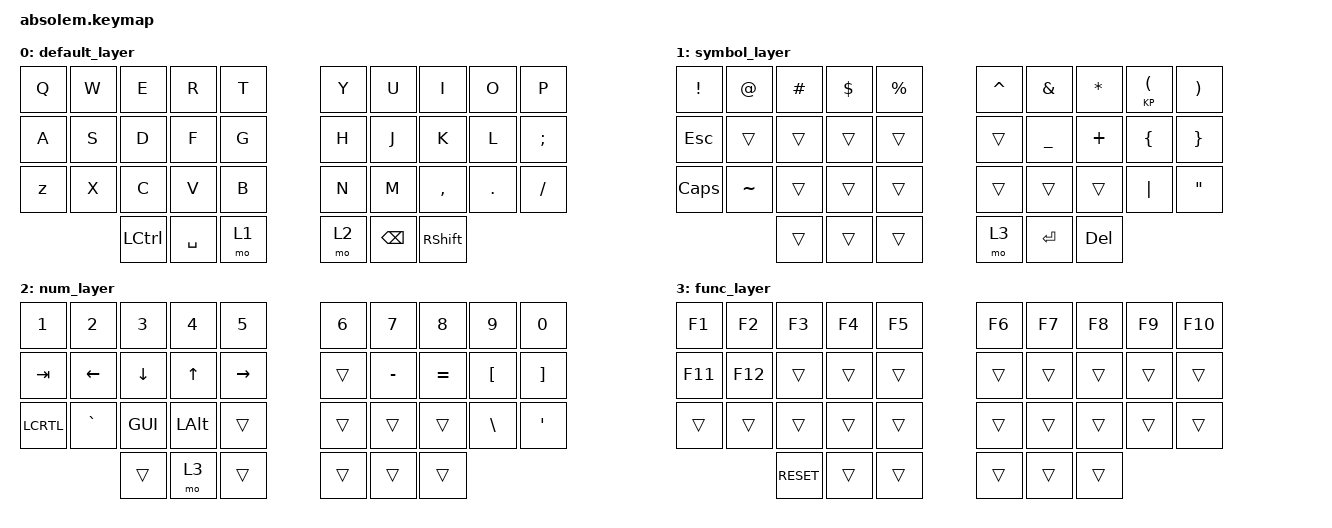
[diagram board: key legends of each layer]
/*
 * Copyright (c) 2020 The ZMK Contributors
 *
 * SPDX-License-Identifier: MIT
 */

#include <behaviors.dtsi>
#include <dt-bindings/zmk/keys.h>
#include <dt-bindings/zmk/bt.h>
#include <dt-bindings/zmk/ext_power.h>


/ {
    keymap {
        compatible = "zmk,keymap";

        default_layer {

            bindings = <
                &kp Q    &kp W      &kp E   &kp R   &kp T      &kp Y    &kp U     &kp I       &kp O   &kp P
                &kp A    &kp S      &kp D   &kp F   &kp G      &kp H    &kp J     &kp K       &kp L   &kp SEMI
                &kp z    &kp X      &kp C   &kp V   &kp B      &kp N    &kp M     &kp COMMA   &kp DOT &kp FSLH
                &kp LCTL &kp SPACE  &mo 1                      &mo 2    &kp BSPC  &kp RSHFT
            >;
        };



        symbol_layer {

            bindings = <
                &kp EXCL  &kp AT    &kp POUND &kp DLLR &kp PRCNT           &kp CARET  &kp AMPS   &kp ASTRK  &KP LPAR  &kp RPAR
                &kp ESC   &trans    &trans    &trans   &trans              &trans     &kp UNDER  &kp PLUS   &kp LBRC  &kp RBRC
                &kp CAPS  &kp TILDE &trans    &trans   &trans              &trans     &trans     &trans     &kp PIPE  &kp DQT
                &trans    &trans    &trans                                 &mo 3      &kp ENTER  &kp DELETE
            >;
        };


    
        num_layer {

            bindings = <
                &kp N1     &kp N2     &kp N3    &kp N4    &kp N5           &kp N6  &kp N7     &kp N8     &kp N9    &kp N0
                &kp TAB    &kp LEFT   &kp DOWN  &kp UP    &kp RIGHT       &trans  &kp MINUS  &kp EQUAL  &kp LBKT  &kp RBKT
                &kp LCRTL  &kp GRAVE  &kp GUI   &kp LALT  &trans          &trans  &trans     &trans     &kp BSLH  &kp APOS
                &trans     &mo 3      &trans                              &trans  &trans     &trans
            >;
        };



        func_layer {

            bindings = <
                &kp F1   &kp F2   &kp F3  &kp F4  &kp F5              &kp F6  &kp F7  &kp F8  &kp F9 &kp F10
                &kp F11  &kp F12  &trans  &trans  &trans              &trans  &trans  &trans  &trans  &trans
                &trans   &trans   &trans  &trans  &trans              &trans  &trans  &trans  &trans  &trans
                &RESET   &trans   &trans                              &trans  &trans  &trans
            >;
        };

          
    };
};
